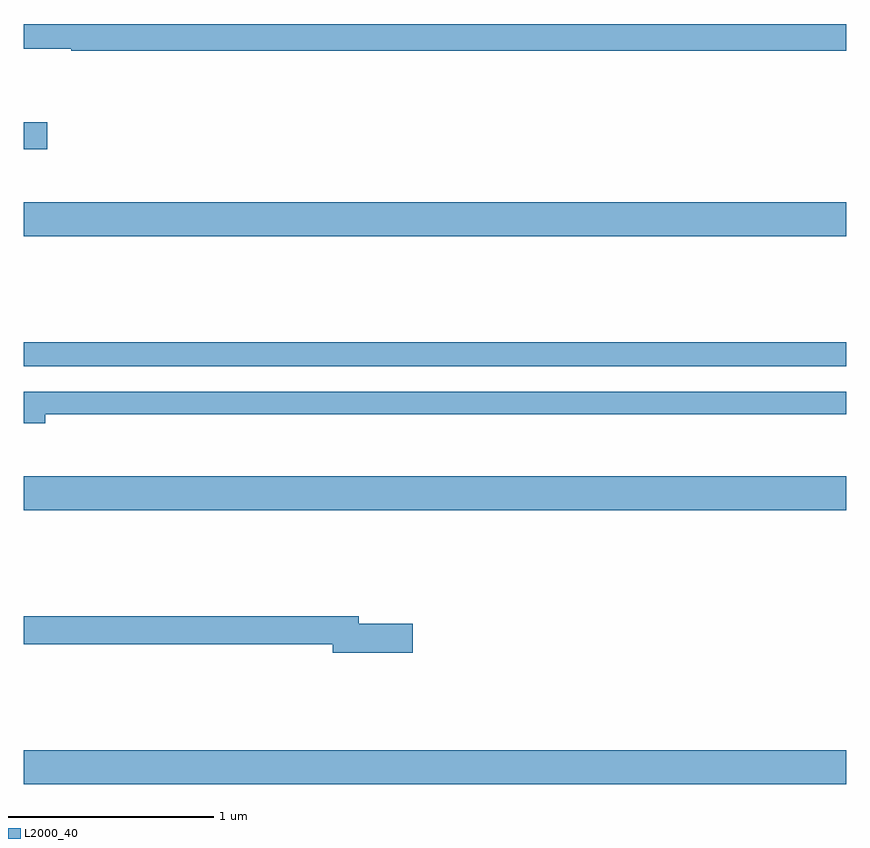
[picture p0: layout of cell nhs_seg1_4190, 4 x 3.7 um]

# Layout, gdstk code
import gdstk
lib = gdstk.Library(unit=1e-6, precision=1e-09)
def R(c, l, rs):  # rectangles x0, y0, x1, y1
    for r in rs: c.add(gdstk.rectangle(r[:2], r[2:], *l))
def A(c, l, x, y, w, h, nx, ny, dx, dy):  # array of equal rectangles
    R(c, l, [(x+i*dx, y+j*dy, x+i*dx+w, y+j*dy+h) for i in range(nx) for j in range(ny)])
def P(c, l, *ps):  # polygons
    for p in ps: c.add(gdstk.Polygon(p, *l))
L2000_40 = (2000, 40)

nhs_seg1_4190 = lib.new_cell('nhs_seg1_4190')
A(nhs_seg1_4190, L2000_40, 339, 546.404, 4, 0.164, 1, 3, 0, 1.332)
R(nhs_seg1_4190, L2000_40, [(339,548.436,343,548.552), (339,549.491,339.115,549.621)])
P(nhs_seg1_4190, L2000_40, [(343,550.099),(339,550.099),(339,549.978),(339.232,549.978),(339.232,549.97),(343,549.97)],
  [(339.106,548.202),(343,548.202),(343,548.31),(339,548.31),(339,548.159),(339.106,548.159)],
  [(340.891,547.184),(340.63,547.184),(340.63,547.22),(339,547.22),(339,547.084),(340.502,547.084),(340.502,547.042),(340.891,547.042)])

lib.write_gds('nhs_seg1_4190.gds')
